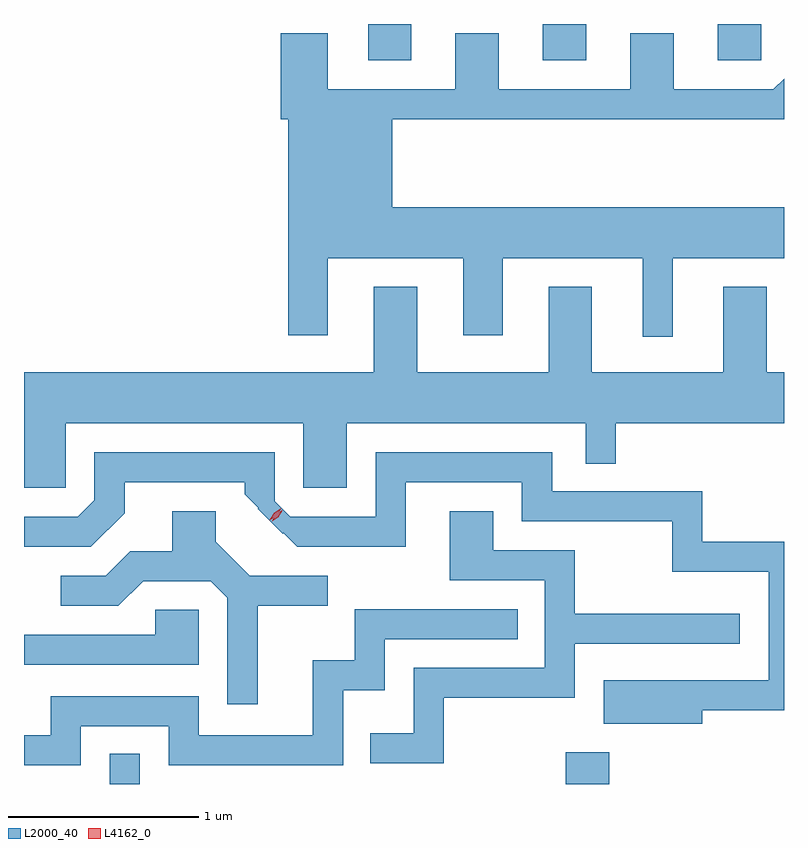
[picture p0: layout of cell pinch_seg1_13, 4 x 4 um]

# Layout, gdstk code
import gdstk
lib = gdstk.Library(unit=1e-6, precision=1e-09)
def R(c, l, rs):  # rectangles x0, y0, x1, y1
    for r in rs: c.add(gdstk.rectangle(r[:2], r[2:], *l))
def A(c, l, x, y, w, h, nx, ny, dx, dy):  # array of equal rectangles
    R(c, l, [(x+i*dx, y+j*dy, x+i*dx+w, y+j*dy+h) for i in range(nx) for j in range(ny)])
def P(c, l, *ps):  # polygons
    for p in ps: c.add(gdstk.Polygon(p, *l))
L2000_40 = (2000, 40)
L4162_0 = (4162, 0)

pinch_seg1_13 = lib.new_cell('pinch_seg1_13')
A(pinch_seg1_13, L2000_40, 1836.011, 961.426, 0.228, 0.192, 3, 1, 0.92, 0)
R(pinch_seg1_13, L2000_40, [(1834.651,957.618,1834.809,957.778), (1837.051,957.618,1837.279,957.784)])
P(pinch_seg1_13, L2000_40, [(1837.614,960.386),(1838.2,960.386),(1838.2,960.654),(1836.139,960.654),(1836.139,961.116),(1838.2,961.116),(1838.2,961.33),(1838.144,961.274),(1837.619,961.274),(1837.619,961.569),(1837.391,961.569),(1837.391,961.274),(1836.699,961.274),(1836.699,961.569),(1836.471,961.569),(1836.471,961.274),(1835.799,961.274),(1835.799,961.569),(1835.551,961.569),(1835.551,961.116),(1835.591,961.116),(1835.591,959.981),(1835.799,959.981),(1835.799,960.386),(1836.511,960.386),(1836.511,959.981),(1836.719,959.981),(1836.719,960.386),(1837.456,960.386),(1837.456,959.973),(1837.614,959.973)],
  [(1834.419,959.516),(1835.671,959.516),(1835.671,959.176),(1835.899,959.176),(1835.899,959.516),(1837.156,959.516),(1837.156,959.303),(1837.314,959.303),(1837.314,959.516),(1838.2,959.516),(1838.2,959.784),(1838.109,959.784),(1838.109,960.234),(1837.881,960.234),(1837.881,959.784),(1837.189,959.784),(1837.189,960.234),(1836.961,960.234),(1836.961,959.784),(1836.269,959.784),(1836.269,960.234),(1836.041,960.234),(1836.041,959.784),(1834.2,959.784),(1834.2,959.176),(1834.419,959.176)],
  [(1837.769,958.006),(1838.2,958.006),(1838.2,958.894),(1837.769,958.894),(1837.769,959.159),(1836.979,959.159),(1836.979,959.364),(1836.051,959.364),(1836.051,959.024),(1835.602,959.024),(1835.519,959.107),(1835.519,959.364),(1834.571,959.364),(1834.571,959.112),(1834.484,959.024),(1834.2,959.024),(1834.2,958.866),(1834.552,958.866),(1834.729,959.044),(1834.729,959.206),(1835.361,959.206),(1835.361,959.143),(1835.433,959.071),(1835.43,959.067),(1835.562,958.935),(1835.566,958.938),(1835.638,958.866),(1836.209,958.866),(1836.209,959.206),(1836.821,959.206),(1836.821,959.001),(1837.611,959.001),(1837.611,958.736),(1838.121,958.736),(1838.121,958.164),(1837.251,958.164),(1837.251,957.936),(1837.769,957.936)],
  [(1835.429,958.556),(1835.798,958.556),(1835.798,958.714),(1835.387,958.714),(1835.209,958.892),(1835.209,959.054),(1834.981,959.054),(1834.981,958.844),(1834.759,958.844),(1834.629,958.714),(1834.393,958.714),(1834.393,958.556),(1834.697,958.556),(1834.827,958.686),(1835.184,958.686),(1835.271,958.599),(1835.271,958.038),(1835.429,958.038)],
  [(1836.409,958.071),(1837.099,958.071),(1837.099,958.356),(1837.968,958.356),(1837.968,958.514),(1837.099,958.514),(1837.099,958.849),(1836.669,958.849),(1836.669,959.054),(1836.441,959.054),(1836.441,958.691),(1836.941,958.691),(1836.941,958.229),(1836.251,958.229),(1836.251,957.884),(1836.023,957.884),(1836.023,957.726),(1836.409,957.726)],
  [(1834.499,957.921),(1834.961,957.921),(1834.961,957.716),(1835.879,957.716),(1835.879,958.111),(1836.099,958.111),(1836.099,958.381),(1836.798,958.381),(1836.798,958.539),(1835.941,958.539),(1835.941,958.269),(1835.721,958.269),(1835.721,957.874),(1835.119,957.874),(1835.119,958.079),(1834.341,958.079),(1834.341,957.874),(1834.2,957.874),(1834.2,957.716),(1834.499,957.716)],
  [(1835.119,958.534),(1834.891,958.534),(1834.891,958.404),(1834.2,958.404),(1834.2,958.246),(1835.119,958.246)])
P(pinch_seg1_13, L4162_0, [(1835.493,959.007),(1835.493,959.008),(1835.517,959.046),(1835.555,959.07),(1835.555,959.07),(1835.555,959.07),(1835.531,959.032),(1835.493,959.007)],
  [(1835.506,959.002),(1835.506,959.003),(1835.525,959.037),(1835.558,959.058),(1835.559,959.058),(1835.559,959.057),(1835.539,959.023),(1835.506,959.002)])

lib.write_gds('pinch_seg1_13.gds')
